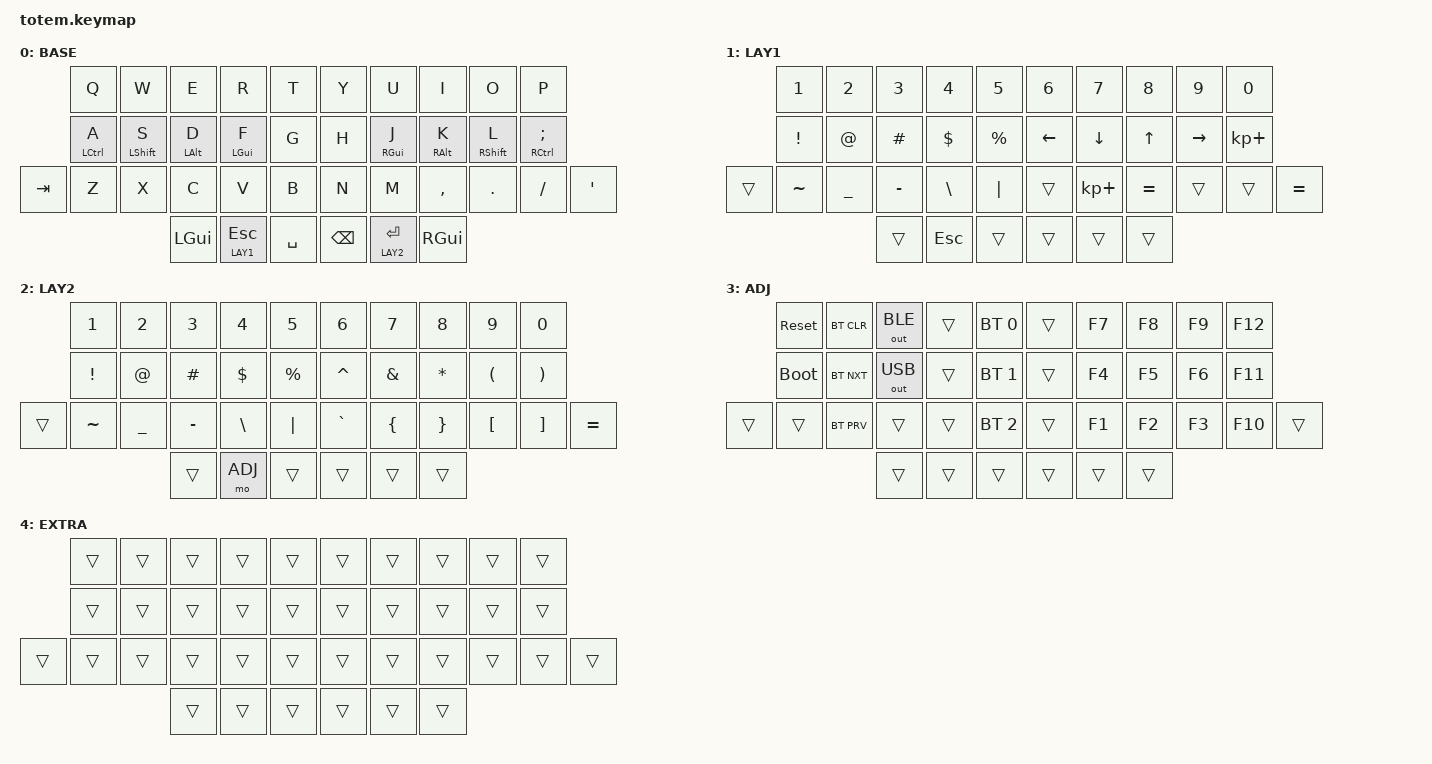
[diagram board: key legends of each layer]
#include <behaviors.dtsi>
#include <dt-bindings/zmk/bt.h>
#include <dt-bindings/zmk/keys.h>
#include <dt-bindings/zmk/outputs.h>

#define KEYS_L 0 1 2 3 4 10 11 12 13 14 20 21 22 23 24 25 32 33 34
#define KEYS_R 5 6 7 8 9 15 16 17 18 19 26 27 28 29 30 31 35 36 37

#define TAP_TIMEOUT 150
#define PRIOR_IDLE 60
#define QUICK_TAP_MS 175

#define BASE  0
#define LAY1  1
#define LAY2  2
#define ADJ   3

&mt {
  flavor = "tap-preferred";
  global-quick-tap;
  quick-tap-ms = <QUICK_TAP_MS>;
  tapping-term-ms = <TAP_TIMEOUT>;
};

/ {
    behaviors {
/*
      hm: homerow_mods {
        compatible = "zmk,behavior-hold-tap";
        label = "homerow mods";
        #binding-cells = <2>;
        flavor = "balanced";
        tapping-term-ms = <TAP_TIMEOUT>;
        quick-tap-ms = <QUICK_TAP_MS>;
        require-prior-idle-ms = <PRIOR_IDLE>;
        bindings = <&kp>, <&kp>;
      };
*/
      hml: homerow_mods_left {
        compatible = "zmk,behavior-hold-tap";
        label = "homerow mods left";
        #binding-cells = <2>;
        flavor = "balanced";
        tapping-term-ms = <TAP_TIMEOUT>;
        quick-tap-ms = <QUICK_TAP_MS>;
        require-prior-idle-ms = <PRIOR_IDLE>;
        bindings = <&kp>, <&kp>;
        hold-trigger-key-positions = <KEYS_R>;
        hold-trigger-on-release;
      };
      hmr: homerow_mods_right {
        compatible = "zmk,behavior-hold-tap";
        label = "homerow mods right";
        #binding-cells = <2>;
        flavor = "balanced";
        tapping-term-ms = <TAP_TIMEOUT>;
        quick-tap-ms = <QUICK_TAP_MS>;
        require-prior-idle-ms = <PRIOR_IDLE>;
        bindings = <&kp>, <&kp>;
        hold-trigger-key-positions = <KEYS_L>;
        hold-trigger-on-release;
      };
    };
    combos {
      compatible = "zmk,combos";
      combo_caps_word {
        timeout-ms = <50>;
        key-positions = <20 31>; // TAB+APOS
        bindings = <&caps_word>;
      };
      combo_esc {
        timeout-ms = <50>;
        key-positions = <0 1>; // Q+W
        bindings = <&kp ESC>;
      };
    };

//             ┏━━━━━━━━━━━┳━━━━━━━━━━━┳━━━━━━━━━━━┳━━━━━━━━━━━┳━━━━━━━━━━━┓   ┏━━━━━━━━━━━┳━━━━━━━━━━━┳━━━━━━━━━━━┳━━━━━━━━━━━┳━━━━━━━━━━━┓
//             ┃     Q     ┃     W     ┃     E     ┃     R     ┃     T     ┃   ┃     Y     ┃     U     ┃     I     ┃     P     ┃     O     ┃
//             ┣━━━━━━━━━━━╋━━━━━━━━━━━╋━━━━━━━━━━━╋━━━━━━━━━━━╋━━━━━━━━━━━┫   ┣━━━━━━━━━━━╋━━━━━━━━━━━╋━━━━━━━━━━━╋━━━━━━━━━━━╋━━━━━━━━━━━┫
//             ┃     A     ┃     S     ┃     D     ┃     F     ┃     G     ┃   ┃     H     ┃     J     ┃     K     ┃     L     ┃     ;     ┃
// ┏━━━━━━━━━━━╋━━━━━━━━━━━╋━━━━━━━━━━━╋━━━━━━━━━━━╋━━━━━━━━━━━╋━━━━━━━━━━━┫   ┣━━━━━━━━━━━╋━━━━━━━━━━━╋━━━━━━━━━━━╋━━━━━━━━━━━╋━━━━━━━━━━━╋━━━━━━━━━━━┓
// ┃     TAB   ┃     Z     ┃     X     ┃     C     ┃     V     ┃     B     ┃   ┃     M     ┃     N     ┃     ,     ┃     .     ┃     /     ┃     '     ┃
// ┗━━━━━━━━━━━┻━━━━━━━━━━━┻━━━━━━━━━━━╋━━━━━━━━━━━╋━━━━━━━━━━━╋━━━━━━━━━━━┫   ┣━━━━━━━━━━━╋━━━━━━━━━━━╋━━━━━━━━━━━╋━━━━━━━━━━━┻━━━━━━━━━━━┻━━━━━━━━━━━┛
//                                     ┃           ┃    ESC    ┃    SPC    ┃   ┃   BSPC    ┃   ENTER   ┃           ┃
//                                     ┗━━━━━━━━━━━┻━━━━━━━━━━━┻━━━━━━━━━━━┛   ┗━━━━━━━━━━━┻━━━━━━━━━━━┻━━━━━━━━━━━┛

    keymap {
      compatible = "zmk,keymap";
      base_layer {
        label= "BASE";
        bindings = <
// ╷           ╷           ╷           ╷           ╷           ╷           ╷   ╷           ╷           ╷           ╷           ╷           ╷           ╷
               &kp Q       &kp W       &kp E       &kp R       &kp T           &kp Y       &kp U       &kp I       &kp O       &kp P
               &hml LCTRL A &hml LSHFT S &hml LALT D &hml LGUI F &kp G         &kp H       &hmr RGUI J &hmr RALT K &hmr RSHFT L &hmr RCTRL SEMI
    &kp TAB    &kp Z       &kp X       &kp C       &kp V       &kp B           &kp N       &kp M       &kp COMMA   &kp DOT     &kp FSLH    &kp APOS
                                       &kp LGUI    &lt LAY1 ESC &kp SPACE      &kp BSPC    &lt LAY2 ENTER &kp RGUI
        >;
      };

      nav_layer {
        label= "LAY1";
        bindings = <
// ╷           ╷           ╷           ╷           ╷           ╷           ╷   ╷           ╷           ╷           ╷           ╷           ╷           ╷
               &kp N1      &kp N2      &kp N3      &kp N4      &kp N5          &kp N6      &kp N7      &kp N8      &kp N9      &kp N0
               &kp EXCL    &kp AT      &kp HASH    &kp DLLR    &kp PRCNT       &kp LEFT    &kp DOWN    &kp UP      &kp RIGHT   &kp KP_PLUS
    &trans     &kp TILDE   &kp UNDER   &kp MINUS   &kp BSLH    &kp PIPE        &trans      &kp KP_PLUS &kp EQUAL   &trans      &trans      &kp EQUAL
                                       &trans      &kp ESC     &trans          &trans      &trans   &trans
        >;
      };

      sim_layer {
        label= "LAY2"; 
        bindings = <
// ╷           ╷           ╷           ╷           ╷           ╷           ╷   ╷           ╷           ╷           ╷           ╷           ╷           ╷
               &kp N1      &kp N2      &kp N3      &kp N4      &kp N5          &kp N6      &kp N7      &kp N8      &kp N9      &kp N0
               &kp EXCL    &kp AT      &kp HASH    &kp DLLR    &kp PRCNT       &kp CARET   &kp AMPS    &kp STAR    &kp LPAR    &kp RPAR
    &trans     &kp TILDE   &kp UNDER   &kp MINUS   &kp BSLH    &kp PIPE        &kp GRAVE   &kp LBRC    &kp RBRC    &kp LBKT    &kp RBKT    &kp EQUAL
                                       &trans      &mo ADJ     &trans          &trans      &trans      &trans
        >;
      };

      adjust_layer {
        label= "ADJ";
        bindings = <
// ╷           ╷           ╷           ╷           ╷           ╷           ╷   ╷           ╷           ╷           ╷           ╷           ╷           ╷
               &sys_reset  &bt BT_CLR &out OUT_BLE &trans     &bt BT_SEL 0     &trans      &kp F7      &kp F8      &kp F9      &kp F12
               &bootloader &bt BT_NXT &out OUT_USB &trans     &bt BT_SEL 1     &trans      &kp F4      &kp F5      &kp F6      &kp F11
   &trans      &trans      &bt BT_PRV &trans       &trans     &bt BT_SEL 2     &trans      &kp F1      &kp F2      &kp F3      &kp F10     &trans
                                       &trans       &trans     &trans          &trans      &trans      &trans
        >;
      };


      extra_layer {
        label= "EXTRA";
        bindings = <
// ╷           ╷           ╷           ╷           ╷           ╷           ╷   ╷           ╷           ╷           ╷           ╷           ╷           ╷
               &trans      &trans      &trans      &trans      &trans          &trans      &trans      &trans      &trans      &trans
               &trans      &trans      &trans      &trans      &trans          &trans      &trans      &trans      &trans      &trans
   &trans      &trans      &trans      &trans      &trans      &trans          &trans      &trans      &trans      &trans      &trans      &trans
                                       &trans      &trans      &trans          &trans      &trans      &trans
        >;
      };
    };
};
